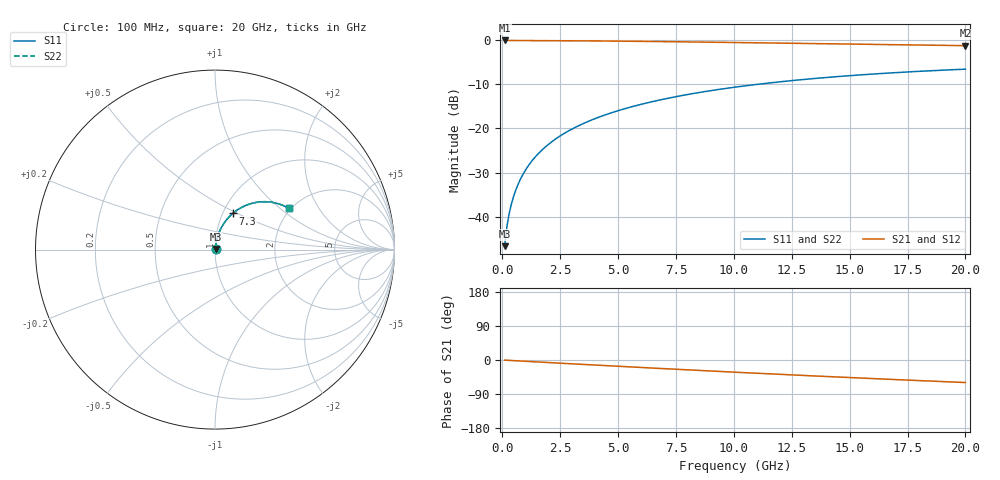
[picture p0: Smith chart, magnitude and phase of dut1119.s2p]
! Touchstone file exported from HFSS 2026.1.0
!  File:  C:/ffzhzh/LocalFiles/Ansys_Project_Files/temp_train_BSMRDL_1119_1783175102_18472.aedt
!  Generated:  10:26:30 PM Jul  4, 2026
!  Design:  BSMRDL
!  Project:  temp_train_BSMRDL_1119_1783175102_18472
! Variables:
!  h_bsmrdl = 4.95um
!  h_ox = 20um
!  h_rdl = 5um
!  h_sub = 80um
!  h_tmrdl = 5um
!  h_tsv = 80um
!  h_via = 3um
!  l_bsmrdl = 940.77um
!  l_sub = 1340.77um
!  l_tmrdl = 200um
!  m_sub = 200um
!  pitch = 55.87um
!  r_tsv = 6um
!  s_tmrdl = 10um
!  w_bsmrdl = 25.57um
!  w_sub = 500um
!  w_tmrdl = 12um
!  x_tsv_center1 = 206um
!  x_tsv_center2 = 1172.34um
!  x_tsv_center3 = 1384.34um
!  x_tsv_center4 = 2350.68um
!  x_tsv_center5 = 2562.68um
!  x_tsv_center6 = 3529.02um
# GHz S MA R 50.000000
! Terminal data exported
! Port[1] = BSM_RDL1_1_T1
! Port[2] = BSM_RDL1_1_T2
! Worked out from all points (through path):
!   200 points, 100 MHz to 20 GHz, reference 50 ohm
!   highest |S21| = -0.02 dB at 100 MHz (marker M1); lowest = -1.2 dB at 20 GHz (marker M2)
!   group delay of S21, straight-line fit = 8.26 ps
!   lowest |S11| = -46.7 dB at 100 MHz (marker M3), VSWR 1.01, Z = 50.3 + j0.364 ohm
!   |S11| at or under -10 dB: start of sweep to 10.99 GHz
!   |S22| runs from -46.7 to -6.5 dB; largest |S21 - S12| = 1.3e-14
!   S11 on the Smith chart (normalised r, x): 100 MHz: 1.01, +0.01; 7.3 GHz: 1.11, +0.47; 20 GHz: 1.95, +1.15
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0.1  0.004614 51.6  0.9971 -0.4  0.9971 -0.4  0.004614 51.6
! Gamma 0 0 0 0
! Port Impedance 50 0 50 0
0.2  0.007715 65.8  0.9969 -0.7  0.9969 -0.7  0.007715 65.8
0.3  0.0109 71.6  0.9967 -1.0  0.9967 -1.0  0.0109 71.6
0.4  0.0141 74.8  0.9965 -1.4  0.9965 -1.4  0.0141 74.8
0.5  0.01733 76.8  0.9964 -1.7  0.9964 -1.7  0.01733 76.8
0.7  0.02383 78.9  0.9961 -2.4  0.9961 -2.4  0.02383 78.9
1  0.03365 80.2  0.9957 -3.4  0.9957 -3.4  0.03365 80.2
1.2  0.04021 80.4  0.9953 -4.1  0.9953 -4.1  0.04021 80.4
1.4  0.04675 80.3  0.9949 -4.7  0.9949 -4.7  0.04675 80.3
1.7  0.05654 79.9  0.9941 -5.7  0.9941 -5.7  0.05654 79.9
2  0.06626 79.3  0.9933 -6.7  0.9933 -6.7  0.06627 79.3
2.7  0.08869 77.6  0.9908 -9.1  0.9908 -9.1  0.08869 77.5
3.5  0.1138 75.3  0.9875 -11.7  0.9875 -11.7  0.1138 75.2
4.2  0.1352 73.2  0.9841 -14.0  0.9841 -14.0  0.1352 73.2
5  0.1591 70.8  0.9798 -16.6  0.9798 -16.6  0.1591 70.7
6.8  0.2105 65.3  0.9688 -22.3  0.9688 -22.3  0.2105 65.3
7.3  0.2242 63.9  0.9654 -23.8  0.9654 -23.8  0.2242 63.9
8.6  0.2584 60.0  0.9562 -27.8  0.9562 -27.8  0.2584 60.0
10.1  0.2955 55.7  0.9449 -32.3  0.9449 -32.3  0.2955 55.7
13.4  0.3674 46.4  0.9188 -41.9  0.9188 -41.9  0.3674 46.4
16.7  0.4257 37.6  0.8932 -50.9  0.8932 -50.9  0.4257 37.6
20  0.4709 29.2  0.8704 -59.5  0.8704 -59.5  0.4709 29.2
